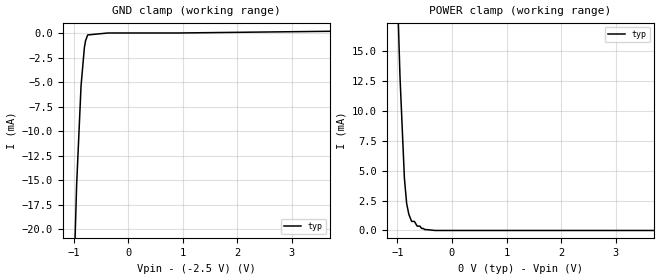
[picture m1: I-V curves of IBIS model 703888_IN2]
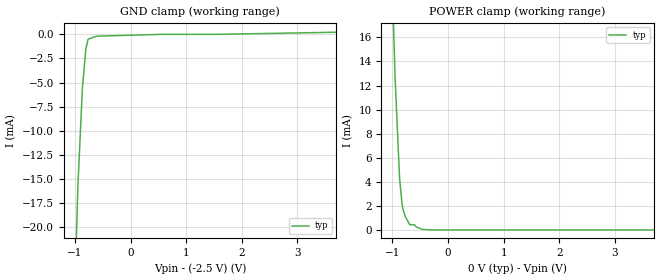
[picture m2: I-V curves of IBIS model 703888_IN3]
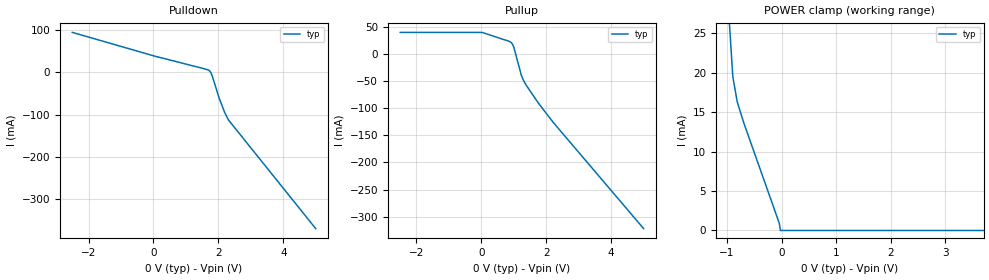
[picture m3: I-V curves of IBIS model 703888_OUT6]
| YOU ARE ONLY AUTHORIZED TO USE THIS SOFTWARE
| ACCORDING TO LICENSOR'S LICENSE RESTRICTIONS.
[IBIS Ver] 3.1
[File Name] mc100lvep16d_-25v.ibs
[File Rev] 2.0
[Source] Measured and created by ICX Technology
[Date] Thursday 5/31/01 4:39:32 PM
[Copyright]
| (C) COPYRIGHT 1993-2001
| MENTOR GRAPHICS CORPORATION
| ICX STANDARD LIBRARY, ICX PROJECT MODELING,
| ICX CUSTOM MODELING, ICX VENDOR MODEL
| ALL RIGHTS RESERVED.
| THE FOLLOWING ARE TRADEMARKS OR SERVICE MARKS OF
| MENTOR GRAPHICS CORPORATION:ICX (R), ICX STANDARD
| LIBRARY(R), ICX PROJECT MODELING(R), ICX CUSTOM
| MODELING(R), qualityIBIS(TM), MODELVIEWER(TM),
| AND MODELEDITOR(TM)
| ALL COPIES OF SOFTWARE, INCLUDING BUT NOT LIMITED TO
| ANY MODIFICATIONS, ENHANCEMENTS OR DERIVATIVE WORKS,
| MUST CONTAIN ALL MENTOR GRAPHICS CORPORATION'S
| NOTICES AND LEGENDS, INCLUDING THOSE EMBEDDED IN
| SOFTWARE AND THOSE AFFIXED TO SOFTWARE MEDIUM
| AND CONTAINER, AS RECEIVED FROM MENTOR GRAPHICS
| CORPORATION.
|  ZAP Model Builder 3.1
[Component] MC100LVEP16D_-25v
[Manufacturer] OnSemico
[Package]
| variable   typ   min   max
R_pkg  .152ohms NA NA
L_pkg  2.714nH NA NA
C_pkg  .364pF NA NA
[Pin] signal_name  model_name  R_pin  L_pin C_pin
1 NC NC .154 2.924n .374p
2 D 703888_IN2 .15 2.504n .354p
3 _D 703888_IN3 .15 2.504n .354p
4 VBB POWER .154 2.924n .374p
5 VEE POWER .154 2.924n .374p
6 _Q 703888_OUT6 .15 2.504n .354p
7 Q 703888_OUT7 .15 2.504n .354p
8 VCC GND .154 2.924n .374p
[Diff Pin] inv_pin vdiff tdelay_typ tdelay_min tdelay_max
2 3 275mV NA NA NA
7 6 NA NA NA NA
| Models and submodels in the file (4): 703888_IN2 (Input_ECL), 703888_IN3 (Input_ECL), 703888_OUT6 (Output_ECL), 703888_OUT7 (Output_ECL)
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| (C) COPYRIGHT 1993-2001
| MENTOR GRAPHICS CORPORATION
| ICX STANDARD LIBRARY, ICX PROJECT MODELING,
| ICX CUSTOM MODELING, ICX VENDOR MODEL
| ALL RIGHTS RESERVED.
| THE FOLLOWING ARE TRADEMARKS OR SERVICE MARKS OF
| MENTOR GRAPHICS CORPORATION:ICX (R), ICX STANDARD
| LIBRARY(R), ICX PROJECT MODELING(R), ICX CUSTOM
| MODELING(R), qualityIBIS(TM), MODELVIEWER(TM),
| AND MODELEDITOR(TM)
| ALL COPIES OF SOFTWARE, INCLUDING BUT NOT LIMITED TO
| ANY MODIFICATIONS, ENHANCEMENTS OR DERIVATIVE WORKS,
| MUST CONTAIN ALL MENTOR GRAPHICS CORPORATION'S
| NOTICES AND LEGENDS, INCLUDING THOSE EMBEDDED IN
| SOFTWARE AND THOSE AFFIXED TO SOFTWARE MEDIUM
| AND CONTAINER, AS RECEIVED FROM MENTOR GRAPHICS
| CORPORATION.
| Model Application Version 1.89 2/18/99.
[Model] 703888_IN2
Model_type Input_ECL
Vinl = -1.625V
Vinh = -1.225V
C_comp 4.000pF NA NA
| variable typ   min   max
[Voltage Range] -2.500V NA NA
[GND Clamp Reference] -2.500V NA NA
[POWER Clamp Reference] 0.000V NA NA
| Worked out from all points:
|   GND clamp passes 1 mA (typ) near -0.79 V on its own axis
|   POWER clamp passes 1 mA (typ) near -0.76 V on its own axis
[GND Clamp]
-2.5V     -434.7mA   NA         NA
-1.31V    -97.6mA    NA         NA
-1.108V   -46.6mA    NA         NA
-946mV    -15.5mA    NA         NA
-865mV    -5.4mA     NA         NA
-804mV    -1.5mA     NA         NA
-783mV    -800uA     NA         NA
-743mV    -200uA     NA         NA
-371.5mV  0A         NA         NA
919mV     0A         NA         NA
5V        254.9uA    NA         NA
[POWER Clamp]
-2.5V     299.9mA    NA         NA
-1.034V   24.94mA    NA         NA
-953mV    12.84mA    NA         NA
-872mV    4.347mA    NA         NA
-831mV    2.249mA    NA         NA
-791mV    1.352mA    NA         NA
-740mV    758.2uA    NA         NA
-689mV    758.2uA    NA         NA
-638.5mV  364.5uA    NA         NA
-557.5mV  168.3uA    NA         NA
-310.7mV  0A         NA         NA
5V        0A         NA         NA
| (C) COPYRIGHT 1993-2001
| MENTOR GRAPHICS CORPORATION
| ICX STANDARD LIBRARY, ICX PROJECT MODELING,
| ICX CUSTOM MODELING, ICX VENDOR MODEL
| ALL RIGHTS RESERVED.
| THE FOLLOWING ARE TRADEMARKS OR SERVICE MARKS OF
| MENTOR GRAPHICS CORPORATION:ICX (R), ICX STANDARD
| LIBRARY(R), ICX PROJECT MODELING(R), ICX CUSTOM
| MODELING(R), qualityIBIS(TM), MODELVIEWER(TM),
| AND MODELEDITOR(TM)
| ALL COPIES OF SOFTWARE, INCLUDING BUT NOT LIMITED TO
| ANY MODIFICATIONS, ENHANCEMENTS OR DERIVATIVE WORKS,
| MUST CONTAIN ALL MENTOR GRAPHICS CORPORATION'S
| NOTICES AND LEGENDS, INCLUDING THOSE EMBEDDED IN
| SOFTWARE AND THOSE AFFIXED TO SOFTWARE MEDIUM
| AND CONTAINER, AS RECEIVED FROM MENTOR GRAPHICS
| CORPORATION.
| Model Application Version 1.89 2/18/99.
[Model] 703888_IN3
Model_type Input_ECL
Vinl = -1.625V
Vinh = -1.225V
C_comp 4.000pF NA NA
| variable typ   min   max
[Voltage Range] -2.500V NA NA
[GND Clamp Reference] -2.500V NA NA
[POWER Clamp Reference] 0.000V NA NA
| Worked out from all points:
|   GND clamp passes 1 mA (typ) near -0.78 V on its own axis
|   POWER clamp passes 1 mA (typ) near -0.76 V on its own axis
[GND Clamp]
-2.5V     -441.1mA   NA         NA
-1.29V    -93.3mA    NA         NA
-1.108V   -47.2mA    NA         NA
-946mV    -15.6mA    NA         NA
-865mV    -5.5mA     NA         NA
-804mV    -1.5mA     NA         NA
-763mV    -500uA     NA         NA
-610.4mV  -188.4uA   NA         NA
554mV     0A         NA         NA
1.537V    0A         NA         NA
5V        352.3uA    NA         NA
[POWER Clamp]
-2.5V     301mA      NA         NA
-1.054V   28.19mA    NA         NA
-953mV    12.71mA    NA         NA
-872mV    4.313mA    NA         NA
-831mV    2.317mA    NA         NA
-811mV    1.72mA     NA         NA
-770mV    1.124mA    NA         NA
-689mV    440.2uA    NA         NA
-608mV    440.2uA    NA         NA
-466mV    54.63uA    NA         NA
-310.7mV  0A         NA         NA
5V        0A         NA         NA
| (C) COPYRIGHT 1993-2001
| MENTOR GRAPHICS CORPORATION
| ICX STANDARD LIBRARY, ICX PROJECT MODELING,
| ICX CUSTOM MODELING, ICX VENDOR MODEL
| ALL RIGHTS RESERVED.
| THE FOLLOWING ARE TRADEMARKS OR SERVICE MARKS OF
| MENTOR GRAPHICS CORPORATION:ICX (R), ICX STANDARD
| LIBRARY(R), ICX PROJECT MODELING(R), ICX CUSTOM
| MODELING(R), qualityIBIS(TM), MODELVIEWER(TM),
| AND MODELEDITOR(TM)
| ALL COPIES OF SOFTWARE, INCLUDING BUT NOT LIMITED TO
| ANY MODIFICATIONS, ENHANCEMENTS OR DERIVATIVE WORKS,
| MUST CONTAIN ALL MENTOR GRAPHICS CORPORATION'S
| NOTICES AND LEGENDS, INCLUDING THOSE EMBEDDED IN
| SOFTWARE AND THOSE AFFIXED TO SOFTWARE MEDIUM
| AND CONTAINER, AS RECEIVED FROM MENTOR GRAPHICS
| CORPORATION.
| Model Application Version 1.89 2/18/99.
[Model] 703888_OUT6
Model_type Output_ECL
Vref=-2.000V
Rref=50.00ohms
Cref=0.000F
Vmeas=-1.420V
C_comp 6.000pF NA NA
| variable typ   min   max
[Voltage Range] -2.500V NA NA
[POWER Clamp Reference] 0.000V NA NA
[Pullup Reference] 0.000V NA NA
[Pulldown Reference] 0.000V NA NA
[GND Clamp Reference] -2.500V NA NA
[GND Clamp]
-2.5V     0A         NA         NA
5V        0A         NA         NA
[Pulldown]
-2.5V     95.16mA    NA         NA
81mV      37.8mA     NA         NA
1.723V    4.2mA      NA         NA
1.763V    300uA      NA         NA
1.804V    -6.7mA     NA         NA
2.027V    -61.6mA    NA         NA
2.189V    -94.2mA    NA         NA
2.31V     -112.9mA   NA         NA
5V        -371.3mA   NA         NA
[Pullup]
-2.5V     40mA       NA         NA
15mV      40mA       NA         NA
765mV     25.4mA     NA         NA
927mV     20.9mA     NA         NA
968mV     17.2mA     NA         NA
1.008V    10.9mA     NA         NA
1.231V    -39.1mA    NA         NA
1.292V    -48mA      NA         NA
1.373V    -56.8mA    NA         NA
1.758V    -90.6mA    NA         NA
2.204V    -125.4mA   NA         NA
5V        -322.2mA   NA         NA
[POWER Clamp]
-2.5V     194.6mA    NA         NA
-892mV    19.5mA     NA         NA
-811mV    16.3mA     NA         NA
-689mV    13.6mA     NA         NA
-41mV     900uA      NA         NA
-20.5mV   0A         NA         NA
5V        0A         NA         NA
[Ramp]
| variable typ min max
dV/dt_r 393.3m/105.6p NA NA
dV/dt_f 393.3m/88.89p NA NA
R_load = 50.00Ohms
